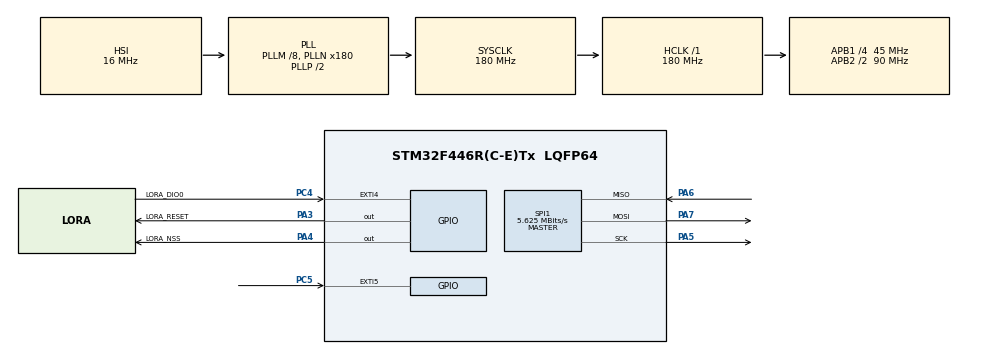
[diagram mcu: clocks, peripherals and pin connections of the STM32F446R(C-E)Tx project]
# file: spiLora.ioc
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Mcu.Family=STM32F4
Mcu.Name=STM32F446R(C-E)Tx
Mcu.Package=LQFP64
NVIC.EXTI4_IRQn=true\:0\:0\:false\:false\:true\:true\:true\:true
NVIC.EXTI9_5_IRQn=true\:0\:0\:false\:false\:true\:true\:true\:true
NVIC.PriorityGroup=NVIC_PRIORITYGROUP_4
PA13.Mode=Serial_Wire
PA13.Signal=SYS_JTMS-SWDIO
PA14.Mode=Serial_Wire
PA14.Signal=SYS_JTCK-SWCLK
PA3.GPIO_Label=LORA_RESET
PA3.Signal=GPIO_Output
PA4.GPIO_Label=LORA_NSS
PA4.Signal=GPIO_Output
PA5.Mode=Full_Duplex_Master
PA5.Signal=SPI1_SCK
PA6.Mode=Full_Duplex_Master
PA6.Signal=SPI1_MISO
PA7.Mode=Full_Duplex_Master
PA7.Signal=SPI1_MOSI
PC4.GPIO_Label=LORA_DIO0
PC4.Signal=GPXTI4
PC5.Signal=GPXTI5
PH0-OSC_IN.Mode=HSE-External-Oscillator
PH0-OSC_IN.Signal=RCC_OSC_IN
PH1-OSC_OUT.Mode=HSE-External-Oscillator
PH1-OSC_OUT.Signal=RCC_OSC_OUT
ProjectManager.HeapSize=0x200
ProjectManager.StackSize=0x400
ProjectManager.TargetToolchain=STM32CubeIDE
RCC.AHBFreq_Value=180000000
RCC.APB1CLKDivider=RCC_HCLK_DIV4
RCC.APB1Freq_Value=45000000
RCC.APB1TimFreq_Value=90000000
RCC.APB2CLKDivider=RCC_HCLK_DIV2
RCC.APB2Freq_Value=90000000
RCC.APB2TimFreq_Value=180000000
RCC.CortexFreq_Value=180000000
RCC.HCLKFreq_Value=180000000
RCC.HSE_VALUE=8000000
RCC.PLLM=8
RCC.PLLN=180
RCC.PLLQ=3
RCC.SYSCLKFreq_VALUE=180000000
RCC.SYSCLKSource=RCC_SYSCLKSOURCE_PLLCLK
RCC.USBFreq_Value=120000000
RCC.VCOOutputFreq_Value=360000000
SPI1.BaudRatePrescaler=SPI_BAUDRATEPRESCALER_16
SPI1.CalculateBaudRate=5.625 MBits/s
SPI1.Direction=SPI_DIRECTION_2LINES
SPI1.Mode=SPI_MODE_MASTER
SPI1.VirtualType=VM_MASTER
board=custom

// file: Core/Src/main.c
/* USER CODE BEGIN Header */
/**
  ******************************************************************************
  * @file           : main.c
  * @brief          : Main program body
  ******************************************************************************
  * @attention
  *
  * Copyright (c) 2025 STMicroelectronics.
  * All rights reserved.
  *
  * This software is licensed under terms that can be found in the LICENSE file
  * in the root directory of this software component.
  * If no LICENSE file comes with this software, it is provided AS-IS.
  *
  ******************************************************************************
  */
/* USER CODE END Header */
#include "main.h"

/* USER CODE BEGIN Includes */
#include <stdint.h>
/* USER CODE END Includes */

SPI_HandleTypeDef hspi1;

void SystemClock_Config(void);
static void MX_GPIO_Init(void);
static void MX_SPI1_Init(void);

/* USER CODE BEGIN 0 */

/* Private variables ---------------------------------------------------------*/
SPI_HandleTypeDef hspi1;

/* USER CODE BEGIN PV */
// Bu satır, projenin başka yerlerinde tanımlanan SPI1 yapılandırmasını
// bu dosyada kullanabilmemizi sağlar. CubeIDE bunu otomatik oluşturur.
extern SPI_HandleTypeDef hspi1;
/* USER CODE END PV */

/* Private defines -----------------------------------------------------------*/
/* USER CODE BEGIN PD */
// Bu tanımlamalar, RFM98W modülünün (içindeki SX1278 çipi) datasheet'inden alınmıştır.
// Karmaşık register adreslerini ezberlemek yerine onlara isim vererek kod okunabilirliğini artırırız.

// RFM98W Register Adresleri
#define REG_VERSION              0x42 // Versiyon bilgisi için
#define REG_OP_MODE              0x01 // Çalışma modunu ayarlamak için
#define REG_FRF_MSB              0x06 // Frekans ayarı (En anlamlı byte)
#define REG_FRF_MID              0x07 // Frekans ayarı (Orta byte)
#define REG_FRF_LSB              0x08 // Frekans ayarı (En anlamsız byte)
#define REG_DIO_MAPPING_1        0x40 // DIO pinlerinin görevlerini atamak için

// RFM98W Çalışma Modları
#define MODE_SLEEP               0x80 // Uyku modu (LoRa modunda)
#define MODE_STDBY               0x81 // Bekleme modu (LoRa modunda)
#define MODE_TX                  0x83 // Gönderme modu (LoRa modunda)
#define MODE_RX_CONTINUOUS       0x85 // Sürekli dinleme modu (LoRa modunda)

// Tablo 3.35'e göre 60 byte'lık Telemetri Veri Paketi Yapısı
typedef struct __attribute__((packed)) {
    uint16_t packet_number;            // 2 byte
    uint8_t  flight_state;             // 1 byte

    // OBC Verileri
    int16_t  obc_roll;                 // 2 byte
    int16_t  obc_pitch;                // 2 byte
    int16_t  obc_yaw;                  // 2 byte
    uint8_t  obc_abs_acceleration;     // 1 byte
    uint8_t  obc_max_abs_acceleration; // 1 byte
    uint8_t  obc_pressure;             // 1 byte
    int16_t  obc_vertical_velocity;    // 2 byte
    int16_t  obc_altitude;             // 2 byte
    int16_t  obc_max_altitude;         // 2 byte
    int8_t   obc_temperature;          // 1 byte

    // BPC Verileri
    int16_t  bpc_roll;                 // 2 byte
    int16_t  bpc_pitch;                // 2 byte
    int16_t  bpc_yaw;                  // 2 byte
    uint8_t  bpc_abs_acceleration;     // 1 byte
    uint8_t  bpc_max_abs_acceleration; // 1 byte
    uint8_t  bpc_pressure;             // 1 byte
    int16_t  bpc_vertical_velocity;    // 2 byte
    int16_t  bpc_altitude;             // 2 byte
    int16_t  bpc_max_altitude;         // 2 byte

    // DAQ Verileri
    uint16_t daq_pressure_1;           // 2 byte
    uint16_t daq_pressure_2;           // 2 byte
    int16_t  daq_temperature;          // 2 byte

    // PRC Verileri
    int16_t  prc_current;              // 2 byte
    int16_t  prc_voltage;              // 2 byte

    // GPS ve Sistem Zamanı
    uint32_t system_time;              // 4 byte
    float    latitude;                 // 4 byte
    float    longitude;                // 4 byte
    uint32_t gps_utc_time;             // 4 byte
} TelemetryPacket_t;

volatile uint8_t tx_done_flag = 0;

void RFM98_Reset()
{
  // Reset pinini 1ms boyunca LOW'a çek
  HAL_GPIO_WritePin(LORA_RESET_GPIO_Port, LORA_RESET_Pin, GPIO_PIN_RESET);
  HAL_Delay(1);
  // Reset pinini HIGH'a çekerek modülün normal çalışmasına izin ver
  HAL_GPIO_WritePin(LORA_RESET_GPIO_Port, LORA_RESET_Pin, GPIO_PIN_SET);
  HAL_Delay(5); // Modülün kendine gelmesi için kısa bir bekleme
}

void RFM98_Write(uint8_t address, uint8_t value)
{
  // Yazma işlemi için adresin en anlamlı bitini (MSB) 1 yapmamız gerekiyor.
  // Bu, SX1278 datasheet'inde belirtilen bir kuraldır.
  uint8_t write_address = address | 0x80;

  // 1. NSS pinini LOW'a çekerek LoRa modülüyle haberleşmeyi başlat.
  HAL_GPIO_WritePin(LORA_NSS_GPIO_Port, LORA_NSS_Pin, GPIO_PIN_RESET);

  // 2. Önce yazılacak register'ın adresini gönder.
  HAL_SPI_Transmit(&hspi1, &write_address, 1, HAL_MAX_DELAY);

  // 3. Sonra o adrese yazılacak veriyi gönder.
  HAL_SPI_Transmit(&hspi1, &value, 1, HAL_MAX_DELAY);

  // 4. NSS pinini HIGH'a çekerek haberleşmeyi sonlandır.
  HAL_GPIO_WritePin(LORA_NSS_GPIO_Port, LORA_NSS_Pin, GPIO_PIN_SET);
}

uint8_t RFM98_Read(uint8_t address)
{
  // Okuma işlemi için adresin en anlamlı bitini (MSB) 0 yapmamız gerekiyor.
  // Bu, SX1278 datasheet'inde belirtilen bir kuraldır.
  uint8_t read_address = address & 0x7F;
  uint8_t received_data;

  // 1. NSS pinini LOW'a çekerek LoRa modülüyle haberleşmeyi başlat.
  HAL_GPIO_WritePin(LORA_NSS_GPIO_Port, LORA_NSS_Pin, GPIO_PIN_RESET);

  // 2. Önce okunacak register'ın adresini gönder.
  HAL_SPI_Transmit(&hspi1, &read_address, 1, HAL_MAX_DELAY);

  // 3. Veriyi okumak için STM32'den anlamsız bir veri (0x00) gönderilir.
  //    Bu gönderim sırasında MISO hattından gelen veri okunur.
  HAL_SPI_Receive(&hspi1, &received_data, 1, HAL_MAX_DELAY);

  // 4. NSS pinini HIGH'a çekerek haberleşmeyi sonlandır.
  HAL_GPIO_WritePin(LORA_NSS_GPIO_Port, LORA_NSS_Pin, GPIO_PIN_SET);

  return received_data;
}

uint8_t LoRa_Init()
{
  // Modülü resetle
  RFM98_Reset();

  // 1. İletişimi doğrula: Versiyon numarasını kontrol et
  if (RFM98_Read(REG_VERSION) != 0x12)
  {
    return 0; // Hata: Modül bulunamadı veya SPI çalışmıyor
  }

  // 2. Modülü yapılandırmak için ayarları YAZmaya başla

  // Ayarları değiştirebilmek için önce Uyku (Sleep) moduna al.
  // Bu bir datasheet kuralıdır: LoRa modu ayarları sadece uyku modunda değiştirilebilir.
  RFM98_Write(REG_OP_MODE, MODE_SLEEP);
  HAL_Delay(10); // Modun değişmesi için kısa bir bekleme

  // Frekansı ayarla (Örnek: 868 MHz)
  // Bu hex değerleri datasheet'teki formülle hesaplanır: Freq = F_STEP * Değer
  // F_STEP = 32MHz / 2^19 ≈ 61.035 Hz
  // Frekansı 433 MHz'e ayarla
  // Hesaplama: 433,000,000 / 61.035 ≈ 7094272 = 0x6C8000
  RFM98_Write(REG_FRF_MSB, 0x6C); // 433 MHz için MSB
  RFM98_Write(REG_FRF_MID, 0x80); // 433 MHz için MID
  RFM98_Write(REG_FRF_LSB, 0x00); // 433 MHz için LSB
  // Diğer temel ayarlar... (Şimdilik standart değerleri kullanabiliriz)
  // - Çıkış gücü: +17dBm
  // - Spreading Factor: 7, Bandwidth: 125kHz (En yaygın ayarlardan biri)
  // - CRC Aktif
  RFM98_Write(0x09, 0xFF); // RegPaConfig -> PA_BOOST, MaxPower, OutputPower
  RFM98_Write(0x1D, 0x72); // RegModemConfig1 -> BW=125kHz, CR=4/5
  RFM98_Write(0x1E, 0x74); // RegModemConfig2 -> SF=7, CRC On
  RFM98_Write(0x26, 0x04); // RegModemConfig3 -> AgcAutoOn

  RFM98_Write(REG_DIO_MAPPING_1, 0x40);

  // Ayarları bitirdikten sonra, bir sonraki komuta hazır olması için Bekleme (Standby) moduna al.
  RFM98_Write(REG_OP_MODE, MODE_STDBY);
  HAL_Delay(10);

  return 1; // Başlatma başarılı
}

// DÜZELTİLMİŞ GÖNDERME FONKSİYONU
void LoRa_SendMessage(TelemetryPacket_t* packet)
{
  RFM98_Write(REG_OP_MODE, MODE_STDBY);
  RFM98_Write(0x0E, 0x00); // RegFifoTxBaseAddr
  RFM98_Write(0x0D, 0x00); // RegFifoAddrPtr

  uint8_t* data_ptr = (uint8_t*)packet;
  uint8_t packet_size = sizeof(TelemetryPacket_t);

  for (int i = 0; i < packet_size; i++)
  {
    RFM98_Write(0x00, data_ptr[i]); // RegFifo
  }

  RFM98_Write(0x22, packet_size); // RegPayloadLength
  RFM98_Write(REG_OP_MODE, MODE_TX);
}

/* USER CODE END 0 */

int main(void)
{

  /* MCU Configuration--------------------------------------------------------*/

  /* Reset of all peripherals, Initializes the Flash interface and the Systick. */
  HAL_Init();

  /* Configure the system clock */
  SystemClock_Config();

  /* Initialize all configured peripherals */
  MX_GPIO_Init();
  MX_SPI1_Init();
  /* USER CODE BEGIN 2 */

  HAL_GPIO_WritePin(LORA_NSS_GPIO_Port, LORA_NSS_Pin, GPIO_PIN_SET);

  RFM98_Reset();

  int a = 0;

    if (LoRa_Init()) // LoRa modülünü başlat ve başarıyı kontrol et
      {
       a = 1;
      }
      else
      {
        // Başarısız olursa LED'i hızlıca yakıp söndürerek hata belirt
        while(1)
        {
           a = 99;
      }

      }

TelemetryPacket_t telemetry_data; // <-- ÇÖZÜM: Değişkeni burada tanımla
telemetry_data.packet_number = 0;

  /* USER CODE END 2 */

  /* Infinite loop */
  while (1)
  {

    /* USER CODE BEGIN 3 */

	  // 1. Telemetri verilerini SAHTE (DUMMY) verilerle doldur
	        //    (Bu bölüm daha sonra gerçek sensör okumalarıyla değiştirilecektir)

	        telemetry_data.packet_number++; // Her döngüde paket numarasını artırır
	        telemetry_data.flight_state = 4; // Örnek: AFTER_BURNOUT (Uçuş Durumu)

	        // --- OBC (Ana Uçuş Bilgisayarı) Verileri ---
	        telemetry_data.obc_roll = 10;
	        telemetry_data.obc_pitch = 5;
	        telemetry_data.obc_yaw = -8;
	        telemetry_data.obc_abs_acceleration = 3;     // anlık ivme (örn: 3g)
	        telemetry_data.obc_max_abs_acceleration = 5;  // maksimum ivme (örn: 5g)
	        telemetry_data.obc_pressure = 101;            // basınç (örn: 1010 mbar)
	        telemetry_data.obc_vertical_velocity = 150; // dikey hız (örn: 150 m/s)
	        telemetry_data.obc_altitude = 2332;         // irtifa (örn: 2332 m)
	        telemetry_data.obc_max_altitude = 2335;     // maksimum irtifa
	        telemetry_data.obc_temperature = 25;        // sıcaklık (örn: 25 C)

	        // --- BPC (Yedek Uçuş Bilgisayarı) Verileri ---
	        // (OBC'den hafif farklı değerler vererek iki sistemin ayrı çalıştığını test edebiliriz)
	        telemetry_data.bpc_roll = 11;
	        telemetry_data.bpc_pitch = 6;
	        telemetry_data.bpc_yaw = -7;
	        telemetry_data.bpc_abs_acceleration = 3;
	        telemetry_data.bpc_max_abs_acceleration = 5;
	        telemetry_data.bpc_pressure = 101;
	        telemetry_data.bpc_vertical_velocity = 149;
	        telemetry_data.bpc_altitude = 2330;
	        telemetry_data.bpc_max_altitude = 2334;

	        // --- DAQ (Motor Veri Toplama) Verileri ---
	        telemetry_data.daq_pressure_1 = 3500; // motor basıncı 1 (örn: 35.00 bar)
	        telemetry_data.daq_pressure_2 = 400;  // motor basıncı 2 (örn: 4.00 bar)
	        telemetry_data.daq_temperature = -10; // motor sıcaklığı (örn: -10 C)

	        // --- PRC (Güç ve Kurtarma) Verileri ---
	        telemetry_data.prc_current = 800;   // çekilen akım (örn: 800mA)
	        telemetry_data.prc_voltage = 1628;  // batarya voltajı (örn: 16.28V)

	        // --- GPS ve Sistem Zamanı Verileri ---
	        telemetry_data.system_time = HAL_GetTick(); // sistemin çalışma süresi (milisaniye)
	        telemetry_data.latitude = 41.0259f;
	        telemetry_data.longitude = 28.8906f;
	        telemetry_data.gps_utc_time = 193300; // Saat: 19:33:00

	      // 2. Bir sonraki gönderim için bayrağı sıfırla
	      tx_done_flag = 0;

	      // 3. Veri dolu struct'ın adresini göndererek gönderme işlemini başlat
	      LoRa_SendMessage(&telemetry_data);

	      // 4. Interrupt'ın bayrağı 1 yapmasını BEKLE
	      while (tx_done_flag == 0)
	      {
	        // Bu bekleme sırasında işlemciyi uyutarak güç tasarrufu yapabilirsiniz.
	        // HAL_PWR_EnterSLEEPMode(PWR_MAINREGULATOR_ON, PWR_SLEEPENTRY_WFI);
	      }

	      // 5. Gönderim bitti, şimdi bir sonraki gönderim için bekle
	      HAL_Delay(500); // Yarım saniye bekle

	    }

  /* USER CODE END 3 */
}

void SystemClock_Config(void)
{
  RCC_OscInitTypeDef RCC_OscInitStruct = {0};
  RCC_ClkInitTypeDef RCC_ClkInitStruct = {0};

  /** Configure the main internal regulator output voltage
  */
  __HAL_RCC_PWR_CLK_ENABLE();
  __HAL_PWR_VOLTAGESCALING_CONFIG(PWR_REGULATOR_VOLTAGE_SCALE1);

  /** Initializes the RCC Oscillators according to the specified parameters
  * in the RCC_OscInitTypeDef structure.
  */
  RCC_OscInitStruct.OscillatorType = RCC_OSCILLATORTYPE_HSI;
  RCC_OscInitStruct.HSIState = RCC_HSI_ON;
  RCC_OscInitStruct.HSICalibrationValue = RCC_HSICALIBRATION_DEFAULT;
  RCC_OscInitStruct.PLL.PLLState = RCC_PLL_ON;
  RCC_OscInitStruct.PLL.PLLSource = RCC_PLLSOURCE_HSI;
  RCC_OscInitStruct.PLL.PLLM = 8;
  RCC_OscInitStruct.PLL.PLLN = 180;
  RCC_OscInitStruct.PLL.PLLP = RCC_PLLP_DIV2;
  RCC_OscInitStruct.PLL.PLLQ = 3;
  RCC_OscInitStruct.PLL.PLLR = 2;
  if (HAL_RCC_OscConfig(&RCC_OscInitStruct) != HAL_OK)
  {
    Error_Handler();
  }

  /** Activate the Over-Drive mode
  */
  if (HAL_PWREx_EnableOverDrive() != HAL_OK)
  {
    Error_Handler();
  }

  /** Initializes the CPU, AHB and APB buses clocks
  */
  RCC_ClkInitStruct.ClockType = RCC_CLOCKTYPE_HCLK|RCC_CLOCKTYPE_SYSCLK
                              |RCC_CLOCKTYPE_PCLK1|RCC_CLOCKTYPE_PCLK2;
  RCC_ClkInitStruct.SYSCLKSource = RCC_SYSCLKSOURCE_PLLCLK;
  RCC_ClkInitStruct.AHBCLKDivider = RCC_SYSCLK_DIV1;
  RCC_ClkInitStruct.APB1CLKDivider = RCC_HCLK_DIV4;
  RCC_ClkInitStruct.APB2CLKDivider = RCC_HCLK_DIV2;

  if (HAL_RCC_ClockConfig(&RCC_ClkInitStruct, FLASH_LATENCY_5) != HAL_OK)
  {
    Error_Handler();
  }
}

static void MX_SPI1_Init(void)
{

  /* SPI1 parameter configuration*/
  hspi1.Instance = SPI1;
  hspi1.Init.Mode = SPI_MODE_MASTER;
  hspi1.Init.Direction = SPI_DIRECTION_2LINES;
  hspi1.Init.DataSize = SPI_DATASIZE_8BIT;
  hspi1.Init.CLKPolarity = SPI_POLARITY_LOW;
  hspi1.Init.CLKPhase = SPI_PHASE_1EDGE;
  hspi1.Init.NSS = SPI_NSS_SOFT;
  hspi1.Init.BaudRatePrescaler = SPI_BAUDRATEPRESCALER_16;
  hspi1.Init.FirstBit = SPI_FIRSTBIT_MSB;
  hspi1.Init.TIMode = SPI_TIMODE_DISABLE;
  hspi1.Init.CRCCalculation = SPI_CRCCALCULATION_DISABLE;
  hspi1.Init.CRCPolynomial = 10;
  if (HAL_SPI_Init(&hspi1) != HAL_OK)
  {
    Error_Handler();
  }

}

static void MX_GPIO_Init(void)
{
  GPIO_InitTypeDef GPIO_InitStruct = {0};

  /* GPIO Ports Clock Enable */
  __HAL_RCC_GPIOH_CLK_ENABLE();
  __HAL_RCC_GPIOA_CLK_ENABLE();
  __HAL_RCC_GPIOC_CLK_ENABLE();

  /*Configure GPIO pin Output Level */
  HAL_GPIO_WritePin(GPIOA, LORA_RESET_Pin|LORA_NSS_Pin, GPIO_PIN_RESET);

  /*Configure GPIO pins : LORA_RESET_Pin LORA_NSS_Pin */
  GPIO_InitStruct.Pin = LORA_RESET_Pin|LORA_NSS_Pin;
  GPIO_InitStruct.Mode = GPIO_MODE_OUTPUT_PP;
  GPIO_InitStruct.Pull = GPIO_NOPULL;
  GPIO_InitStruct.Speed = GPIO_SPEED_FREQ_LOW;
  HAL_GPIO_Init(GPIOA, &GPIO_InitStruct);

  /*Configure GPIO pins : LORA_DIO0_Pin PC5 */
  GPIO_InitStruct.Pin = LORA_DIO0_Pin|GPIO_PIN_5;
  GPIO_InitStruct.Mode = GPIO_MODE_IT_RISING;
  GPIO_InitStruct.Pull = GPIO_NOPULL;
  HAL_GPIO_Init(GPIOC, &GPIO_InitStruct);

  /* EXTI interrupt init*/
  HAL_NVIC_SetPriority(EXTI4_IRQn, 0, 0);
  HAL_NVIC_EnableIRQ(EXTI4_IRQn);

  HAL_NVIC_SetPriority(EXTI9_5_IRQn, 0, 0);
  HAL_NVIC_EnableIRQ(EXTI9_5_IRQn);

}

/* USER CODE BEGIN 4 */

void HAL_GPIO_EXTI_Callback(uint16_t GPIO_Pin)
 {
   // Kesmenin LORA_DIO0 pinimizden (PC4) gelip gelmediğini kontrol et
   if (GPIO_Pin == LORA_DIO0_Pin)
   {
     // 1. Ana döngüye haber vermek için bayrağımızı set et.
     tx_done_flag = 1;

     // 2. LoRa modülünün içindeki tüm interrupt bayraklarını temizle.
     //    (0xFF yazmak tüm olası bayrakları temizlemenin en kolay yoludur)
     RFM98_Write(0x12, 0xFF); // RegIrqFlags
   }
 }

/* USER CODE END 4 */

void Error_Handler(void)
{
  __disable_irq();
  while (1)
  {
  }
}
